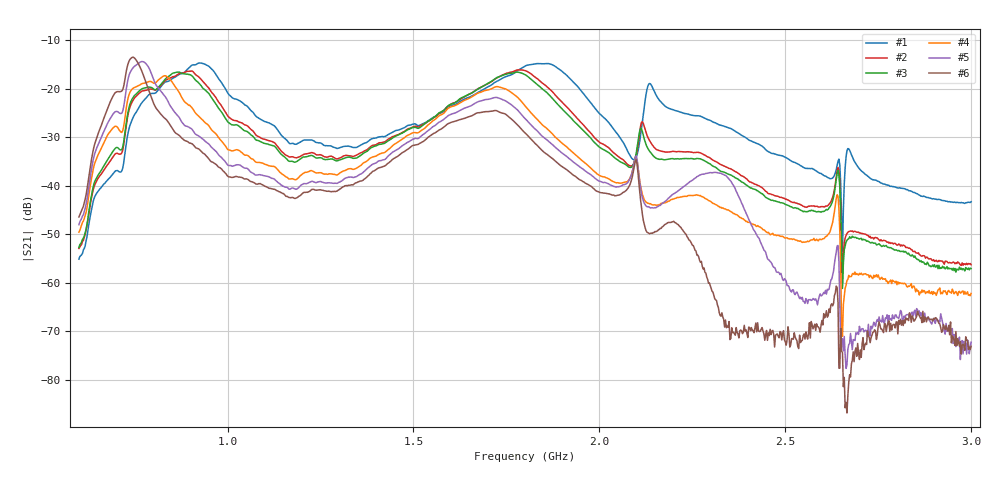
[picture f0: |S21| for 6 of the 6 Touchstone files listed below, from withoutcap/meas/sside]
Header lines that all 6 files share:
#  HZ  S  RI  R  50.00
! Rohde & Schwarz ZVB8 2Ports - Version 2.81 - 1145.1010k08 SN: 100113
! Measurements: S11 S21 S12 S22
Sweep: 600 MHz to 3 GHz
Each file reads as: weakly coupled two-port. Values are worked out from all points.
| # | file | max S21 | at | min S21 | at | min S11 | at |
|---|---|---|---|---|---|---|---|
| 1 | wonder_a_0_0_0.s2p | -14.75 dB | 924.3 MHz | -55.1 dB | 600 MHz | -27.2 dB | 2.666 GHz |
| 2 | wonder_f_3_0_0.s2p | -16.16 dB | 1.787 GHz | -60.0 dB | 2.654 GHz | -14.0 dB | 763.4 MHz |
| 3 | wonder_f_5_0_0.s2p | -16.61 dB | 869.1 MHz | -61.1 dB | 2.654 GHz | -13.7 dB | 756.2 MHz |
| 4 | wonder_f_f_2_0.s2p | -17.36 dB | 830.6 MHz | -71.0 dB | 2.654 GHz | -13.4 dB | 705.7 MHz |
| 5 | wonder_f_f_e_0.s2p | -14.44 dB | 770.6 MHz | -77.6 dB | 2.664 GHz | -13.4 dB | 705.7 MHz |
| 6 | wonder_f_f_f_7.s2p | -13.56 dB | 744.1 MHz | -86.8 dB | 2.666 GHz | -13.3 dB | 705.7 MHz |
